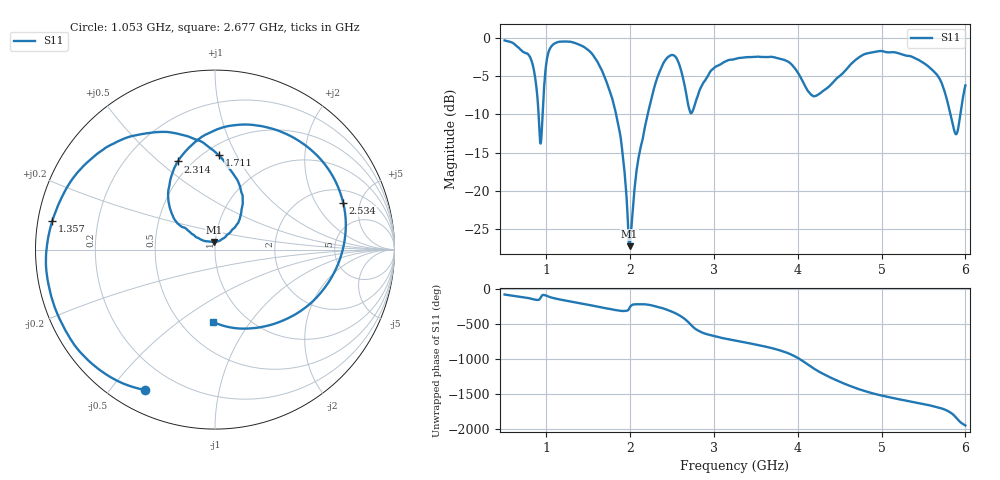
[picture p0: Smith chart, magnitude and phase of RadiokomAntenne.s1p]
!  4/18/2025  7:07:30 PM
! Ref Plane: 0.000 mm
# MHZ S MA R  50
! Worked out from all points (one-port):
!   4001 points, 500 MHz to 6 GHz, reference 50 ohm
!   lowest |S11| = -27.2 dB at 1.992 GHz (marker M1), VSWR 1.09, Z = 49.3 + j4.25 ohm
!   |S11| at or under -10 dB: 905.8 MHz to 953.2 MHz (47.31 MHz wide, 5.09 % of centre); 1.831 GHz to 2.207 GHz (376.2 MHz wide, 18.6 % of centre); 5.822 GHz to 5.939 GHz (117.1 MHz wide, 1.99 % of centre)
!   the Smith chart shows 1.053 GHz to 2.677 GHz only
!   S11 on the Smith chart (normalised r, x): 1.053 GHz: 0.09, -0.61; 1.357 GHz: 0.04, +0.09; 1.711 GHz: 0.59, +0.85; 2.314 GHz: 0.42, +0.58; 2.534 GHz: 2.84, +3.49; 2.677 GHz: 0.71, -0.68
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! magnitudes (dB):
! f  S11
! 500 MHz  -0.3
! 810.8 MHz  -2.7
! 864.4 MHz  -5.2
! 929 MHz  -13.8
! 997.8 MHz  -3.3
! 1.053 GHz  -1.2
! 1.188 GHz  -0.5
! 1.357 GHz  -0.7
! 1.55 GHz  -2.2
! 1.711 GHz  -5.6
! 1.875 GHz  -12.4
! 1.992 GHz  -27.2
! 2.1 GHz  -15.6
! 2.314 GHz  -5.5
! 2.534 GHz  -2.4
! 2.562 GHz  -2.9
! 2.677 GHz  -7.9
! 2.736 GHz  -9.8
! 2.964 GHz  -4.3
! 3.25 GHz  -2.8
! 3.938 GHz  -3.6
! 4.2 GHz  -7.6
! 4.625 GHz  -3.5
! 4.952 GHz  -1.8
! 5.312 GHz  -2.3
! 5.68 GHz  -5.1
! 5.883 GHz  -12.5
! 6 GHz  -6.2
